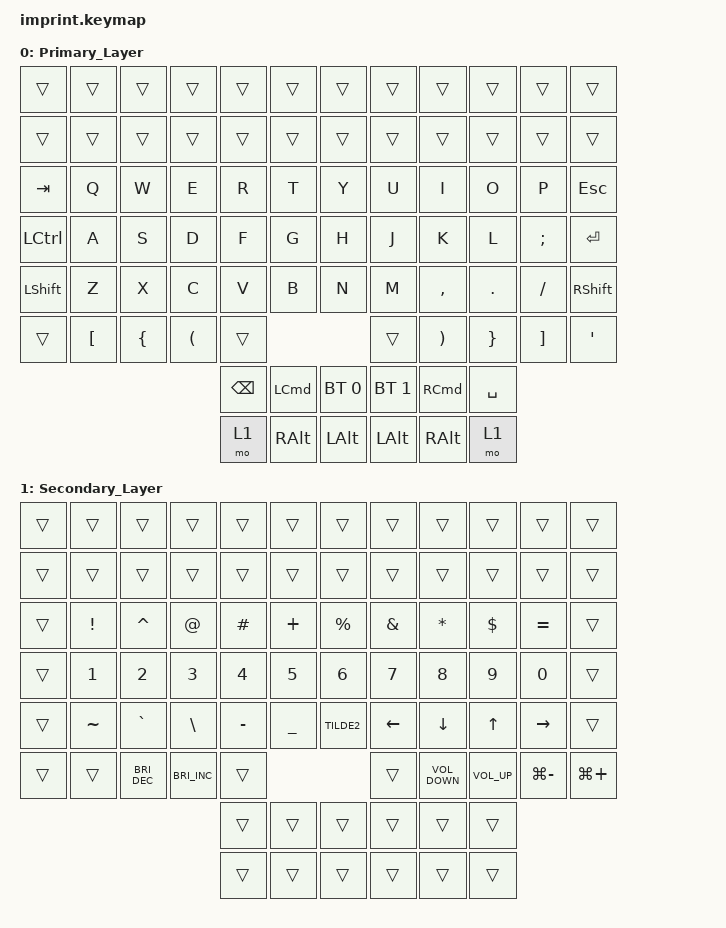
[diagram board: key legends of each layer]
#include <input/processors.dtsi>
#include <dt-bindings/zmk/input_transform.h>
#include <behaviors.dtsi>
#include <dt-bindings/zmk/bt.h>
#include <dt-bindings/zmk/keys.h>

/ {
    chosen { zmk,matrix-transform = &imprint_function_row_full_bottom_row; };

    keymap {
        compatible = "zmk,keymap";

        Primary_Layer {
            bindings = <
&trans     &trans            &trans          &trans                &trans         &trans                            &trans        &trans             &trans                 &trans           &trans             &trans
&trans     &trans            &trans          &trans                &trans         &trans                            &trans        &trans             &trans                 &trans           &trans             &trans
&kp TAB    &kp Q             &kp W           &kp E                 &kp R          &kp T                             &kp Y         &kp U              &kp I                  &kp O            &kp P              &kp ESCAPE
&kp LCTRL  &kp A             &kp S           &kp D                 &kp F          &kp G                             &kp H         &kp J              &kp K                  &kp L            &kp SEMI           &kp ENTER
&kp LSHFT  &kp Z             &kp X           &kp C                 &kp V          &kp B                             &kp N         &kp M              &kp COMMA              &kp DOT          &kp FSLH           &kp RSHFT
&trans     &kp LEFT_BRACKET  &kp LEFT_BRACE  &kp LEFT_PARENTHESIS  &trans                                                         &trans             &kp RIGHT_PARENTHESIS  &kp RIGHT_BRACE  &kp RIGHT_BRACKET  &kp SQT
                                                                   &kp BACKSPACE  &kp LEFT_COMMAND  &bt BT_SEL 0    &bt BT_SEL 1  &kp RIGHT_COMMAND  &kp SPACE
                                                                   &mo 1          &kp RALT          &kp LALT        &kp LALT      &kp RALT           &mo 1
            >;
        };

        Secondary_Layer {
            bindings = <
&trans  &trans     &trans                &trans                &trans     &trans                  &trans        &trans          &trans             &trans           &trans         &trans
&trans  &trans     &trans                &trans                &trans     &trans                  &trans        &trans          &trans             &trans           &trans         &trans
&trans  &kp EXCL   &kp CARET             &kp AT                &kp HASH   &kp PLUS                &kp PERCENT   &kp AMPS        &kp STAR           &kp DOLLAR       &kp EQUAL      &trans
&trans  &kp N1     &kp N2                &kp N3                &kp N4     &kp NUMBER_5            &kp NUMBER_6  &kp N7          &kp N8             &kp N9           &kp N0         &trans
&trans  &kp TILDE  &kp GRAVE             &kp BACKSLASH         &kp MINUS  &kp UNDER               &kp TILDE2    &kp LEFT_ARROW  &kp DOWN           &kp UP_ARROW     &kp RIGHT      &trans
&trans  &trans     &kp C_BRIGHTNESS_DEC  &kp C_BRIGHTNESS_INC  &trans                                           &trans          &kp C_VOLUME_DOWN  &kp C_VOLUME_UP  &kp LG(MINUS)  &kp LG(PLUS)
                                                               &trans     &trans        &trans    &trans        &trans          &trans
                                                               &trans     &trans        &trans    &trans        &trans          &trans
            >;
        };
    };
};

// right hand trackball configuration
// &trackball_peripheral_listener {
//    input-processors =
//     activate layer 3 within 500ms of the trackball moving
//     <&zip_temp_layer 3 500>;
// };
//left hand trackball configuration

&trackball_central_listener {
    input-processors =
        // multiply sensitivity by 1, divide by 3 (make it slower for scrolling),,,,,,,,,,,,,,,,,,,,
        <&zip_xy_scaler 1 3>,
        // make this trackball output scrolling events by default instead of cursor movement,,,,,,,,,,,,,,,,,,,,
        <&zip_xy_to_scroll_mapper>,
        // invert vertical scrolling so that the view moves in the same direction as the top of the trackball.,,,,,,,,,,,,,,,,,,,,
        <&zip_scroll_transform INPUT_TRANSFORM_Y_INVERT>;
};
